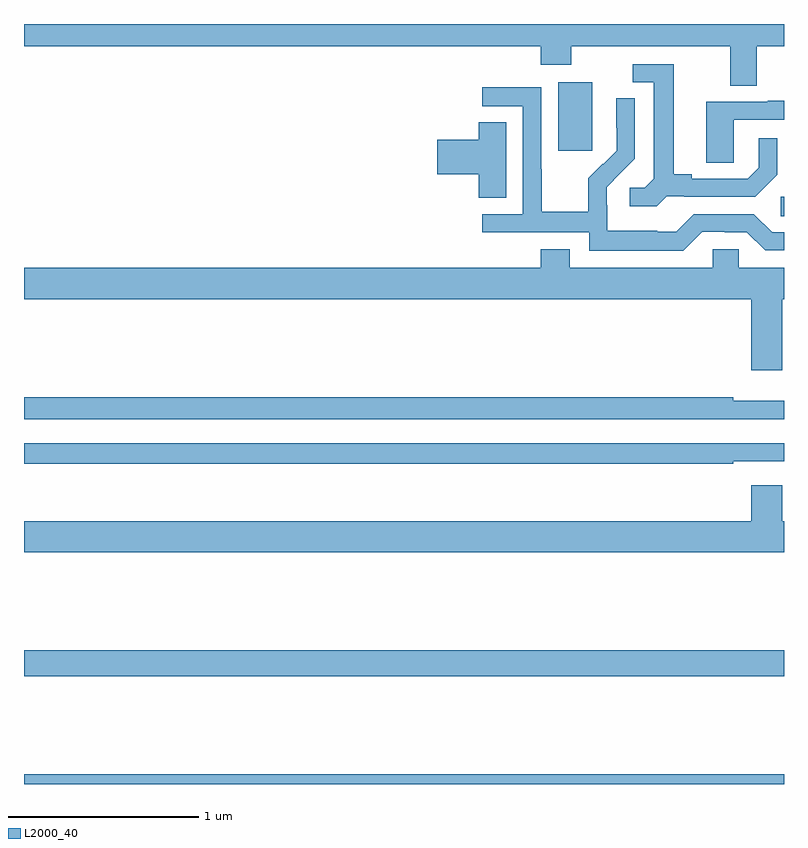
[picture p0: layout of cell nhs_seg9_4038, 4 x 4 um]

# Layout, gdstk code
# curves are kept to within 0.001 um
import gdstk
lib = gdstk.Library(unit=1e-6, precision=1e-09)
def R(c, l, rs):  # rectangles x0, y0, x1, y1
    for r in rs: c.add(gdstk.rectangle(r[:2], r[2:], *l))
def P(c, l, *ps):  # polygons
    for p in ps: c.add(gdstk.Polygon(p, *l))
L2000_40 = (2000, 40)

nhs_seg9_4038 = lib.new_cell('nhs_seg9_4038')
R(nhs_seg9_4038, L2000_40, [(341,1228.5,345,1228.552), (341,1229.068,345,1229.204), (344.982,1231.489,345,1231.59), (343.811,1231.833,343.99,1232.194)])
P(nhs_seg9_4038, L2000_40, [(344.857,1232.384),(345,1232.384),(345,1232.5),(341,1232.5),(341,1232.384),(343.721,1232.384),(343.721,1232.285),(343.881,1232.285),(343.881,1232.384),(344.717,1232.384),(344.717,1232.176),(344.857,1232.176)],
  [(344.382,1231.593),(344.476,1231.593),(344.476,1231.59),(344.848,1231.59),(344.964,1231.706),(344.964,1231.9),(344.867,1231.9),(344.867,1231.743),(344.81,1231.686),(344.515,1231.686),(344.515,1231.709),(344.419,1231.709),(344.419,1232.289),(344.205,1232.289),(344.205,1232.193),(344.315,1232.193),(344.315,1231.685),(344.268,1231.638),(344.187,1231.638),(344.187,1231.541),(344.33,1231.541)],
  [(344.571,1231.407),(344.687,1231.407),(344.687,1231.404),(344.805,1231.404),(344.901,1231.308),(345,1231.308),(345,1231.404),(344.937,1231.404),(344.841,1231.5),(344.526,1231.5),(344.433,1231.407),(344.333,1231.407),(344.333,1231.411),(344.07,1231.411),(344.07,1231.545),(344.068,1231.545),(344.068,1231.642),(344.214,1231.79),(344.214,1232.108),(344.118,1232.108),(344.118,1231.954),(344.12,1231.954),(344.12,1231.832),(344.049,1231.761),(344.046,1231.764),(343.969,1231.687),(343.969,1231.513),(343.725,1231.513),(343.725,1231.736),(343.722,1231.736),(343.722,1232.166),(343.413,1232.166),(343.413,1232.067),(343.626,1232.067),(343.626,1231.5),(343.413,1231.5),(343.413,1231.404),(343.974,1231.404),(343.974,1231.307),(344.471,1231.307)],
  [(344.736,1231.995),(345,1231.995),(345,1232.095),(344.915,1232.095),(344.915,1232.091),(344.591,1232.091),(344.591,1231.771),(344.736,1231.771)],
  [(343.537,1231.982),(343.394,1231.982),(343.394,1231.892),(343.176,1231.892),(343.176,1231.709),(343.394,1231.709),(343.394,1231.585),(343.537,1231.585)],
  [(344.992,1231.052),(345,1231.052),(345,1231.216),(344.763,1231.216),(344.763,1231.314),(344.625,1231.314),(344.625,1231.216),(343.873,1231.216),(343.873,1231.315),(343.721,1231.315),(343.721,1231.216),(341,1231.216),(341,1231.052),(344.828,1231.052),(344.828,1230.678),(344.992,1230.678)],
  [(345,1230.517),(344.732,1230.517),(344.732,1230.536),(341,1230.536),(341,1230.42),(345,1230.42)],
  [(344.732,1230.198),(345,1230.198),(345,1230.294),(341,1230.294),(341,1230.186),(344.732,1230.186)],
  [(345,1229.884),(344.992,1229.884),(344.992,1230.073),(344.828,1230.073),(344.828,1229.884),(341,1229.884),(341,1229.72),(345,1229.72)])

lib.write_gds('nhs_seg9_4038.gds')
